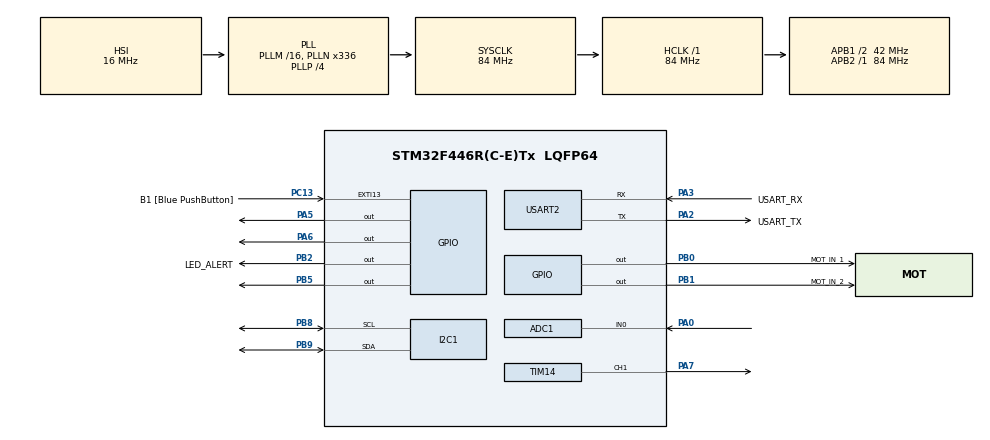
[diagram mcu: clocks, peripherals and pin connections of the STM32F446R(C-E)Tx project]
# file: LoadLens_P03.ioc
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ADC1.Channel-1\#ChannelRegularConversion=ADC_CHANNEL_0
ADC1.NbrOfConversionFlag=1
ADC1.Rank-1\#ChannelRegularConversion=1
ADC1.SamplingTime-1\#ChannelRegularConversion=ADC_SAMPLETIME_3CYCLES
ADC1.master=1
Mcu.Family=STM32F4
Mcu.Name=STM32F446R(C-E)Tx
Mcu.Package=LQFP64
NVIC.PriorityGroup=NVIC_PRIORITYGROUP_0
PA0-WKUP.Signal=ADCx_IN0
PA2.GPIO_Label=USART_TX
PA2.Mode=Asynchronous
PA2.Signal=USART2_TX
PA3.GPIO_Label=USART_RX
PA3.Mode=Asynchronous
PA3.Signal=USART2_RX
PA5.Signal=GPIO_Output
PA6.Signal=GPIO_Output
PA7.Signal=S_TIM14_CH1
PB0.GPIO_Label=MOT_IN_1
PB0.Signal=GPIO_Output
PB1.GPIO_Label=MOT_IN_2
PB1.Signal=GPIO_Output
PB2.GPIO_Label=LED_ALERT
PB2.Signal=GPIO_Output
PB5.Signal=GPIO_Output
PB8.Mode=I2C
PB8.Signal=I2C1_SCL
PB9.Mode=I2C
PB9.Signal=I2C1_SDA
PC13.GPIO_Label=B1 [Blue PushButton]
PC13.GPIO_ModeDefaultEXTI=GPIO_MODE_IT_FALLING
PC13.Signal=GPXTI13
ProjectManager.HeapSize=0x200
ProjectManager.StackSize=0x400
ProjectManager.TargetToolchain=STM32CubeIDE
RCC.AHBFreq_Value=84000000
RCC.APB1CLKDivider=RCC_HCLK_DIV2
RCC.APB1Freq_Value=42000000
RCC.APB1TimFreq_Value=84000000
RCC.APB2Freq_Value=84000000
RCC.APB2TimFreq_Value=84000000
RCC.CortexFreq_Value=84000000
RCC.FLatency-AdvancedSettings=FLASH_LATENCY_2
RCC.HCLKFreq_Value=84000000
RCC.HSE_VALUE=8000000
RCC.HSI_VALUE=16000000
RCC.LSE_VALUE=32768
RCC.PLLN=336
RCC.PLLP=RCC_PLLP_DIV4
RCC.SYSCLKFreq_VALUE=84000000
RCC.SYSCLKSource=RCC_SYSCLKSOURCE_PLLCLK
RCC.USBFreq_Value=168000000
RCC.VCOOutputFreq_Value=336000000
SH.ADCx_IN0.0=ADC1_IN0,IN0
SH.S_TIM14_CH1.0=TIM14_CH1,PWM Generation1 CH1
TIM14.AutoReloadPreload=TIM_AUTORELOAD_PRELOAD_ENABLE
TIM14.Channel=TIM_CHANNEL_1
TIM14.Period=999
TIM14.Prescaler=83
USART2.VirtualMode=VM_ASYNC
VP_TIM14_VS_ClockSourceINT.Mode=Enable_Timer
board=NUCLEO-F446RE

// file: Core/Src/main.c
/* USER CODE BEGIN Header */
/**
 ******************************************************************************
 * @file           : main.c
 * @brief          : P03 - LoadLens: Fan-Restriction Estimator & Safe Operating Profile
 *                   Target: STM32F446RE (Nucleo-F446RE)
 *                   Sensor: LM35 on PA0 (ADC1_IN0)
 *                   Motor: L298N (PA5 = IN1, PA6 = IN2)
 *                   Display: 16x2 I2C LCD (PB8 = SCL, PB9 = SDA)
 *                   Telemetry: USART2 (PA2=TX, PA3=RX @ 115200 Baud)
 ******************************************************************************
 */
/* USER CODE END Header */
#include "main.h"
#include "adc.h"
#include "i2c.h"
#include "tim.h"
#include "usart.h"
#include "gpio.h"

/* USER CODE BEGIN Includes */
#include <stdio.h>
#include <string.h>
#include <stdbool.h>
#include "adc.h"
#include "i2c.h"
#include "usart.h"
#include "gpio.h"
/* USER CODE END Includes */

/* USER CODE BEGIN PTD */
typedef enum {
    AIRFLOW_FREE = 0,       // Clean airflow, normal operation
    AIRFLOW_PARTIAL = 1,    // Partially restricted warning
    AIRFLOW_HEAVY = 2       // Heavily restricted, emergency shutdown
} AirflowState_t;
/* USER CODE END PTD */

/* USER CODE BEGIN PD */
#define LCD_ADDR (0x27 << 1) // Standard I2C address for PCF8574 (use 0x3F << 1 if no response)
/* USER CODE END PD */

/* USER CODE BEGIN PV */
float baseline_temp = 28.0f;
float current_temp = 28.0f;
float temp_rise = 0.0f;
AirflowState_t current_state = AIRFLOW_FREE;
char lcd_buf[17];
/* USER CODE END PV */

void SystemClock_Config(void);
/* USER CODE BEGIN PFP */
float Read_LM35_Temperature(void);
AirflowState_t Classify_Airflow(float delta_t);
void Apply_Safe_Profile(AirflowState_t state);
void Motor_Forward(void);
void Motor_Stop(void);

// I2C LCD Driver functions
void lcd_send_cmd(char cmd);
void lcd_send_data(char data);
void lcd_clear(void);
void lcd_put_cur(int row, int col);
void lcd_send_string(char *str);
void lcd_init(void);
/* USER CODE END PFP */

int main(void)
{

  /* MCU Configuration--------------------------------------------------------*/

  /* Reset of all peripherals, Initializes the Flash interface and the Systick. */
  HAL_Init();

  /* Configure the system clock */
  SystemClock_Config();

  /* Initialize all configured peripherals */
  MX_GPIO_Init();
  MX_ADC1_Init();
  MX_I2C1_Init();
  MX_TIM14_Init();
  MX_USART2_UART_Init();
  /* USER CODE BEGIN 2 */
    setbuf(stdout, NULL);

    printf("\r\n=======================================================\r\n");
    printf("   LoadLens P03: Embedded Fan-Restriction Estimator   \r\n");
    printf("   Target: STM32F446RE | Sensor: LM35 on PA0          \r\n");
    printf("   Motor Output: PA5 (IN1), PA6 (IN2)                 \r\n");
    printf("   Display: 16x2 I2C LCD (PB8, PB9)                   \r\n");
    printf("=======================================================\r\n");

    // 1. Initialize LCD Display
    HAL_Delay(100);
    lcd_init();
    lcd_clear();
    lcd_put_cur(0, 0);
    lcd_send_string("LoadLens P03");
    lcd_put_cur(1, 0);
    lcd_send_string("Calibrating...");

    // 2. Startup Buzzer Hardware Self-Test (Beep for 2 seconds)
    HAL_GPIO_WritePin(GPIOB, GPIO_PIN_5, GPIO_PIN_SET);
    HAL_Delay(2000);
    HAL_GPIO_WritePin(GPIOB, GPIO_PIN_5, GPIO_PIN_RESET);

    // 3. Start Motor Spinning Forward
    Motor_Forward();

    // 3. Calibrate Ambient Baseline Temperature
    printf("Calibrating baseline ambient temperature...\r\n");
    float sum_temp = 0.0f;
    for (int i = 0; i < 10; i++) {
        sum_temp += Read_LM35_Temperature();
        HAL_Delay(200);
    }
    baseline_temp = sum_temp / 10.0f;
    printf("Baseline: %d C\r\n", (int)baseline_temp);

    lcd_clear();
  /* USER CODE END 2 */

  /* Infinite loop */
    while (1) {

    /* USER CODE BEGIN 3 */
        // Step 1: Read LM35 Temperature from PA0 (ADC1_IN0)
        current_temp = Read_LM35_Temperature();

        // Step 2: Calculate temperature rise from starting baseline
        temp_rise = current_temp - baseline_temp;
        if (temp_rise < 0.0f) temp_rise = 0.0f;

        // Step 3: Classify Airflow Restriction State based on 50 deg C threshold
        current_state = Classify_Airflow(current_temp);

        // Step 4: Apply Safe Operating Profile
        Apply_Safe_Profile(current_state);

        // Step 5: Update LCD Display
        const char *state_text = "FREE";
        if (current_state == AIRFLOW_PARTIAL) state_text = "PARTIAL";
        else if (current_state == AIRFLOW_HEAVY) state_text = "HEAVY";

        // Row 1: Temp: XX.X C
        int t_int = (int)current_temp;
        int t_dec = (int)((current_temp - t_int) * 10);
        if (t_dec < 0) t_dec = -t_dec;
        snprintf(lcd_buf, sizeof(lcd_buf), "Temp: %2d.%d C", t_int, t_dec);
        lcd_put_cur(0, 0);
        lcd_send_string(lcd_buf);

        // Row 2: Air : FREE / PARTIAL / HEAVY
        snprintf(lcd_buf, sizeof(lcd_buf), "Air : %-8s", state_text);
        lcd_put_cur(1, 0);
        lcd_send_string(lcd_buf);

        // Step 6: Output live telemetry over USB Serial to PC
        int r_int = (int)temp_rise;
        int r_dec = (int)((temp_rise - r_int) * 10);
        if (r_dec < 0) r_dec = -r_dec;
        int b_int = (int)baseline_temp;
        int b_dec = (int)((baseline_temp - b_int) * 10);
        if (b_dec < 0) b_dec = -b_dec;

        printf("Temp: %2d.%d C | Base: %2d.%d C | Rise: +%2d.%d C | Air: %s\r\n",
               t_int, t_dec, b_int, b_dec, r_int, r_dec, state_text);

        HAL_Delay(500); // 500 ms sampling rate
    }
  /* USER CODE END 3 */
}

void SystemClock_Config(void)
{
  RCC_OscInitTypeDef RCC_OscInitStruct = {0};
  RCC_ClkInitTypeDef RCC_ClkInitStruct = {0};

  /** Configure the main internal regulator output voltage
  */
  __HAL_RCC_PWR_CLK_ENABLE();
  __HAL_PWR_VOLTAGESCALING_CONFIG(PWR_REGULATOR_VOLTAGE_SCALE3);

  /** Initializes the RCC Oscillators according to the specified parameters
  * in the RCC_OscInitTypeDef structure.
  */
  RCC_OscInitStruct.OscillatorType = RCC_OSCILLATORTYPE_HSI;
  RCC_OscInitStruct.HSIState = RCC_HSI_ON;
  RCC_OscInitStruct.HSICalibrationValue = RCC_HSICALIBRATION_DEFAULT;
  RCC_OscInitStruct.PLL.PLLState = RCC_PLL_ON;
  RCC_OscInitStruct.PLL.PLLSource = RCC_PLLSOURCE_HSI;
  RCC_OscInitStruct.PLL.PLLM = 16;
  RCC_OscInitStruct.PLL.PLLN = 336;
  RCC_OscInitStruct.PLL.PLLP = RCC_PLLP_DIV4;
  RCC_OscInitStruct.PLL.PLLQ = 2;
  RCC_OscInitStruct.PLL.PLLR = 2;
  if (HAL_RCC_OscConfig(&RCC_OscInitStruct) != HAL_OK)
  {
    Error_Handler();
  }

  /** Initializes the CPU, AHB and APB buses clocks
  */
  RCC_ClkInitStruct.ClockType = RCC_CLOCKTYPE_HCLK|RCC_CLOCKTYPE_SYSCLK
                              |RCC_CLOCKTYPE_PCLK1|RCC_CLOCKTYPE_PCLK2;
  RCC_ClkInitStruct.SYSCLKSource = RCC_SYSCLKSOURCE_PLLCLK;
  RCC_ClkInitStruct.AHBCLKDivider = RCC_SYSCLK_DIV1;
  RCC_ClkInitStruct.APB1CLKDivider = RCC_HCLK_DIV2;
  RCC_ClkInitStruct.APB2CLKDivider = RCC_HCLK_DIV1;

  if (HAL_RCC_ClockConfig(&RCC_ClkInitStruct, FLASH_LATENCY_2) != HAL_OK)
  {
    Error_Handler();
  }
}

/* USER CODE BEGIN 4 */

/**
 * @brief Retarget printf() to USART2
 */
int _write(int file, char *ptr, int len) {
    HAL_UART_Transmit(&huart2, (uint8_t *)ptr, len, HAL_MAX_DELAY);
    return len;
}

/**
 * @brief Spin Motor Forward (D13 = PA5 = HIGH, D12 = PA6 = LOW)
 */
void Motor_Forward(void) {
    HAL_GPIO_WritePin(GPIOA, GPIO_PIN_5, GPIO_PIN_SET);   // D13 (IN1) = HIGH
    HAL_GPIO_WritePin(GPIOA, GPIO_PIN_6, GPIO_PIN_RESET); // D12 (IN2) = LOW
}

/**
 * @brief Stop Motor (D13 = PA5 = LOW, D12 = PA6 = LOW)
 */
void Motor_Stop(void) {
    HAL_GPIO_WritePin(GPIOA, GPIO_PIN_5, GPIO_PIN_RESET); // D13 (IN1) = LOW
    HAL_GPIO_WritePin(GPIOA, GPIO_PIN_6, GPIO_PIN_RESET); // D12 (IN2) = LOW
}

/**
 * @brief Alert Indicator on D4 (PB5)
 */
void Alert_Set(bool on) {
    HAL_GPIO_WritePin(GPIOB, GPIO_PIN_5, on ? GPIO_PIN_SET : GPIO_PIN_RESET);     // D4 (PB5) Buzzer!
    HAL_GPIO_WritePin(GPIOB, LED_ALERT_Pin, on ? GPIO_PIN_SET : GPIO_PIN_RESET);  // PB2
}

/**
 * @brief Read LM35 Temperature from ADC1 Channel 0 (PA0)
 */
float Read_LM35_Temperature(void) {
    uint32_t total = 0;
    for (int i = 0; i < 5; i++) {
        HAL_ADC_Start(&hadc1);
        if (HAL_ADC_PollForConversion(&hadc1, 10) == HAL_OK) {
            total += HAL_ADC_GetValue(&hadc1);
        }
        HAL_ADC_Stop(&hadc1);
        HAL_Delay(2);
    }
    float avg = (float)total / 5.0f;
    float voltage = (avg * 3.3f) / 4095.0f;
    return (voltage * 100.0f);
}

/**
 * @brief Restriction State Classification Logic (Threshold at 50 deg C)
 */
AirflowState_t Classify_Airflow(float temp) {
    if (temp >= 50.0f) {
        return AIRFLOW_HEAVY;     // Temp >= 50 C: MOTOR STOPS
    } else if (temp >= 40.0f) {
        return AIRFLOW_PARTIAL;   // 40 to 49 C: Warning (Motor runs)
    } else {
        return AIRFLOW_FREE;      // < 40 C: Normal (Motor runs)
    }
}

/**
 * @brief Safe Operating-Profile Selector
 */
void Apply_Safe_Profile(AirflowState_t state) {
    if (state == AIRFLOW_HEAVY) {
        // OVERHEAT / RESTRICTION EMERGENCY:
        Motor_Stop();     // STOPS D13 & D12 (0V on both) -> MOTOR FULL STOP!
        Alert_Set(true);  // PB2 Alert ON!
    } else {
        // NORMAL / PARTIAL:
        Motor_Forward();  // D13=HIGH, D12=LOW -> MOTOR SPINS!
        Alert_Set(false); // PB2 Alert OFF!
    }
}

/* ------------------- Robust Auto-Detecting I2C LCD Driver ------------------- */

static uint8_t detected_lcd_addr = 0x4E; // Default 0x27 shifted

static void LCD_WriteNibble(uint8_t nibble, uint8_t rs) {
    uint8_t data = (nibble & 0xF0) | 0x08 | (rs ? 0x01 : 0x00); // Backlight ON
    uint8_t data_en = data | 0x04; // Enable HIGH
    uint8_t data_low = data & ~0x04; // Enable LOW

    HAL_I2C_Master_Transmit(&hi2c1, detected_lcd_addr, &data, 1, 50);
    HAL_Delay(1);
    HAL_I2C_Master_Transmit(&hi2c1, detected_lcd_addr, &data_en, 1, 50);
    HAL_Delay(2);
    HAL_I2C_Master_Transmit(&hi2c1, detected_lcd_addr, &data_low, 1, 50);
    HAL_Delay(1);
}

void lcd_send_cmd(char cmd) {
    LCD_WriteNibble((uint8_t)(cmd & 0xF0), 0);
    LCD_WriteNibble((uint8_t)((cmd << 4) & 0xF0), 0);
    if (cmd == 0x01 || cmd == 0x02) {
        HAL_Delay(3);
    }
}

void lcd_send_data(char data) {
    LCD_WriteNibble((uint8_t)(data & 0xF0), 1);
    LCD_WriteNibble((uint8_t)((data << 4) & 0xF0), 1);
}

void lcd_clear(void) {
    lcd_send_cmd(0x01);
    HAL_Delay(3);
}

void lcd_put_cur(int row, int col) {
    uint8_t addr = (row == 0) ? (0x80 + col) : (0xC0 + col);
    lcd_send_cmd(addr);
}

void lcd_init(void) {
    // 1. Auto-scan I2C to find real LCD address (0x27 or 0x3F)
    detected_lcd_addr = 0x4E; // 0x27 << 1
    if (HAL_I2C_IsDeviceReady(&hi2c1, (0x3F << 1), 2, 20) == HAL_OK) {
        detected_lcd_addr = (0x3F << 1);
    } else if (HAL_I2C_IsDeviceReady(&hi2c1, (0x27 << 1), 2, 20) == HAL_OK) {
        detected_lcd_addr = (0x27 << 1);
    }

    HAL_Delay(100);

    // 2. HD44780 4-bit wakeup sequence
    LCD_WriteNibble(0x30, 0);
    HAL_Delay(10);
    LCD_WriteNibble(0x30, 0);
    HAL_Delay(5);
    LCD_WriteNibble(0x30, 0);
    HAL_Delay(5);
    LCD_WriteNibble(0x20, 0); // Switch to 4-bit mode
    HAL_Delay(5);

    // 3. Display setup commands
    lcd_send_cmd(0x28); // 2 lines, 5x8 matrix
    HAL_Delay(2);
    lcd_send_cmd(0x08); // Display OFF
    HAL_Delay(2);
    lcd_send_cmd(0x01); // Clear Display
    HAL_Delay(5);
    lcd_send_cmd(0x06); // Cursor Increment
    HAL_Delay(2);
    lcd_send_cmd(0x0C); // Display ON, Cursor OFF
    HAL_Delay(5);
}

void lcd_send_string(char *str) {
    while (*str) {
        lcd_send_data(*str++);
    }
}

/* USER CODE END 4 */

void Error_Handler(void)
{
  __disable_irq();
  while (1)
  {
  }
}
